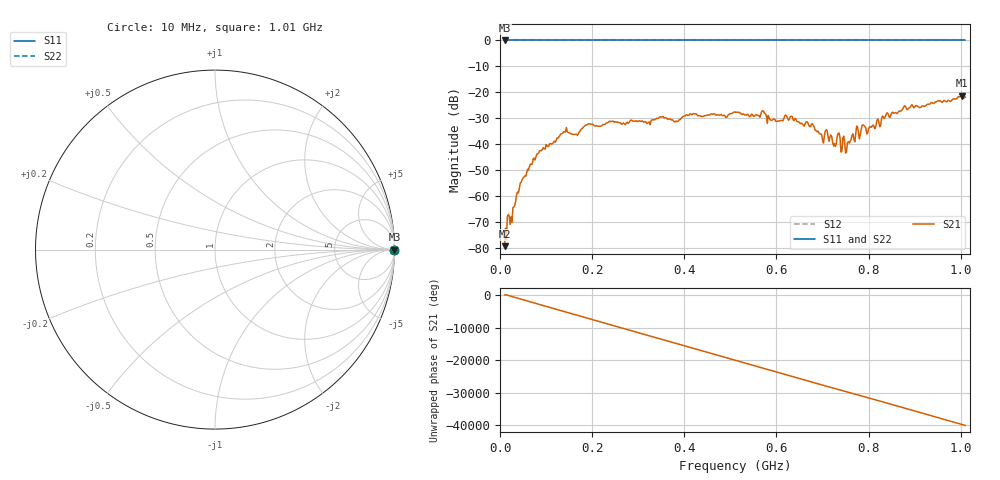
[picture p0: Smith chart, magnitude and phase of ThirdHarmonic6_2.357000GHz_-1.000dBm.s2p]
! 8/17/2025 3:35:45 AM
! C:\ANRITSUVNA\TEMP\TEMP.S2P
! CHANNEL.1
! TR.MEASUREMENT
! RAW.DATA
! RF.CORRECTION.OFF
! AVERAGING.OFF
! IF.BANDWIDTH: 5KHZ
! SWEEPTYPE:  FREQ.SWEEP(Linear)
! Reference Plane Port Info
! PORT:  PORT1  PORT2
! DISTANCE:  0  m  0  m
! TIME:  0  s  0  s
! PHASE.OFFSET:  0  deg.  0  deg.
! LOSS:  0  dB  0  dB
! REF.LOSS:  0  dB  0  dB
! REF.FREQ:  0  Hz  0  Hz
! Power Info
! POWER:  -20  dBm  -20  dBm
! EFF.POWER:  -20  dBm  -20  dBm
! SOURCE.ATTEN:  0  dB  0  dB
! TEST.ATTEN:  0  dB  0  dB
# GHZ S RI R 50.0
! FREQ.GHZ  S11RE  S11IM  S21RE  S21IM  S12RE  S12IM  S22RE  S22IM
!; PortSelection: Port_12
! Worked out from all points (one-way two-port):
!   501 points, 10 MHz to 1.01 GHz, reference 50 ohm
!   highest |S21| = -21.27 dB at 1.002 GHz (marker M1); lowest = -79.2 dB at 10 MHz (marker M2)
!   lowest |S11| = 0.0 dB at 10 MHz (marker M3)
!   |S11| at or under -10 dB: nowhere
!   |S22| runs from 0.0 to 0.0 dB; largest |S21 - S12| = 1.1
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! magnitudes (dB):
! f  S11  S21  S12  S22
! 10 MHz  0.0  -79.2  0.0  0.0
! 16 MHz  0.0  -67.7  0.0  0.0
! 26 MHz  0.0  -70.0  0.0  0.0
! 46 MHz  0.0  -54.6  0.0  0.0
! 76 MHz  0.0  -46.0  0.0  0.0
! 140 MHz  0.0  -35.1  0.0  0.0
! 178 MHz  0.0  -33.9  0.0  0.0
! 344 MHz  0.0  -30.0  0.0  0.0
! 382 MHz  0.0  -31.1  0.0  0.0
! 416 MHz  0.0  -28.6  0.0  0.0
! 510 MHz  0.0  -27.5  0.0  0.0
! 678 MHz  0.0  -32.1  0.0  0.0
! 698 MHz  0.0  -36.2  0.0  0.0
! 708 MHz  0.0  -34.4  0.0  0.0
! 726 MHz  0.0  -39.7  0.0  0.0
! 734 MHz  0.0  -35.7  0.0  0.0
! 754 MHz  0.0  -39.4  0.0  0.0
! 788 MHz  0.0  -32.5  0.0  0.0
! 800 MHz  0.0  -34.0  0.0  0.0
! 844 MHz  0.0  -29.2  0.0  0.0
! 1.002 GHz  0.0  -21.3  0.0  0.0
! 1.01 GHz  0.0  -21.8  0.0  0.0
